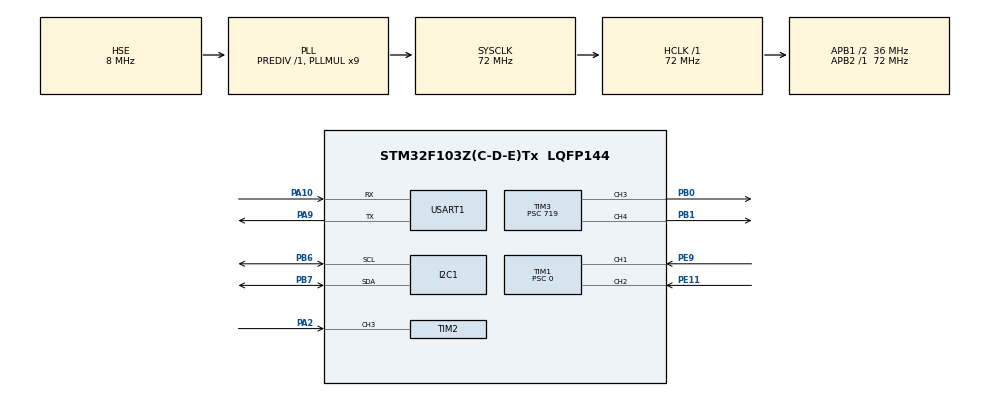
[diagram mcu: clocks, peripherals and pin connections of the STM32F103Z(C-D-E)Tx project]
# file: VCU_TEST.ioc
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Dma.I2C1_RX.1.Direction=DMA_PERIPH_TO_MEMORY
Dma.I2C1_RX.1.Instance=DMA1_Channel7
Dma.I2C1_RX.1.MemDataAlignment=DMA_MDATAALIGN_BYTE
Dma.I2C1_RX.1.MemInc=DMA_MINC_ENABLE
Dma.I2C1_RX.1.Mode=DMA_NORMAL
Dma.I2C1_RX.1.PeriphDataAlignment=DMA_PDATAALIGN_BYTE
Dma.I2C1_RX.1.PeriphInc=DMA_PINC_DISABLE
Dma.I2C1_RX.1.Priority=DMA_PRIORITY_LOW
Dma.I2C1_TX.2.Direction=DMA_MEMORY_TO_PERIPH
Dma.I2C1_TX.2.Instance=DMA1_Channel6
Dma.I2C1_TX.2.MemDataAlignment=DMA_MDATAALIGN_BYTE
Dma.I2C1_TX.2.MemInc=DMA_MINC_ENABLE
Dma.I2C1_TX.2.Mode=DMA_NORMAL
Dma.I2C1_TX.2.PeriphDataAlignment=DMA_PDATAALIGN_BYTE
Dma.I2C1_TX.2.PeriphInc=DMA_PINC_DISABLE
Dma.I2C1_TX.2.Priority=DMA_PRIORITY_LOW
Dma.Request0=USART1_TX
Dma.Request1=I2C1_RX
Dma.Request2=I2C1_TX
Dma.USART1_TX.0.Direction=DMA_MEMORY_TO_PERIPH
Dma.USART1_TX.0.Instance=DMA1_Channel4
Dma.USART1_TX.0.MemDataAlignment=DMA_MDATAALIGN_BYTE
Dma.USART1_TX.0.MemInc=DMA_MINC_ENABLE
Dma.USART1_TX.0.Mode=DMA_NORMAL
Dma.USART1_TX.0.PeriphDataAlignment=DMA_PDATAALIGN_BYTE
Dma.USART1_TX.0.PeriphInc=DMA_PINC_DISABLE
Dma.USART1_TX.0.Priority=DMA_PRIORITY_LOW
I2C1.I2C_Mode=I2C_Standard
Mcu.Family=STM32F1
Mcu.Name=STM32F103Z(C-D-E)Tx
Mcu.Package=LQFP144
NVIC.DMA1_Channel4_IRQn=true\:0\:0\:false\:false\:true\:false\:true
NVIC.DMA1_Channel6_IRQn=true\:0\:0\:false\:false\:true\:false\:true
NVIC.DMA1_Channel7_IRQn=true\:0\:0\:false\:false\:true\:false\:true
NVIC.PriorityGroup=NVIC_PRIORITYGROUP_4
NVIC.TIM2_IRQn=true\:0\:0\:false\:false\:true\:true\:true
NVIC.USART1_IRQn=true\:0\:0\:false\:false\:true\:true\:true
OSC_IN.Mode=HSE-External-Oscillator
OSC_IN.Signal=RCC_OSC_IN
OSC_OUT.Mode=HSE-External-Oscillator
OSC_OUT.Signal=RCC_OSC_OUT
PA10.Mode=Asynchronous
PA10.Signal=USART1_RX
PA13.Mode=Serial_Wire
PA13.Signal=SYS_JTMS-SWDIO
PA14.Mode=Serial_Wire
PA14.Signal=SYS_JTCK-SWCLK
PA2.Signal=S_TIM2_CH3
PA9.Mode=Asynchronous
PA9.Signal=USART1_TX
PB0.Signal=S_TIM3_CH3
PB1.Signal=S_TIM3_CH4
PB6.Mode=I2C
PB6.Signal=I2C1_SCL
PB7.Mode=I2C
PB7.Signal=I2C1_SDA
PE11.Signal=S_TIM1_CH2
PE9.Signal=S_TIM1_CH1
ProjectManager.HeapSize=0x200
ProjectManager.StackSize=0x400
ProjectManager.TargetToolchain=STM32CubeIDE
RCC.AHBFreq_Value=72000000
RCC.APB1CLKDivider=RCC_HCLK_DIV2
RCC.APB1Freq_Value=36000000
RCC.APB1TimFreq_Value=72000000
RCC.APB2Freq_Value=72000000
RCC.APB2TimFreq_Value=72000000
RCC.HCLKFreq_Value=72000000
RCC.PLLMUL=RCC_PLL_MUL9
RCC.PLLSourceVirtual=RCC_PLLSOURCE_HSE
RCC.SYSCLKFreq_VALUE=72000000
RCC.SYSCLKSource=RCC_SYSCLKSOURCE_PLLCLK
RCC.USBFreq_Value=72000000
SH.S_TIM1_CH1.0=TIM1_CH1,Encoder_Interface
SH.S_TIM1_CH2.0=TIM1_CH2,Encoder_Interface
SH.S_TIM2_CH3.0=TIM2_CH3,Input_Capture3_from_TI3
SH.S_TIM3_CH3.0=TIM3_CH3,PWM Generation3 CH3
SH.S_TIM3_CH4.0=TIM3_CH4,PWM Generation4 CH4
TIM1.EncoderMode=TIM_ENCODERMODE_TI12
TIM1.IC1Filter=4
TIM1.IC2Filter=4
TIM1.Period=0xFFFF
TIM1.Prescaler=0
TIM2.Channel-Input_Capture3_from_TI3=TIM_CHANNEL_3
TIM2.ICFilter_CH3=8
TIM2.Period=0xFFFF
TIM2.Prescaler=71
TIM3.Channel-PWM\ Generation3\ CH3=TIM_CHANNEL_3
TIM3.Channel-PWM\ Generation4\ CH4=TIM_CHANNEL_4
TIM3.Period=1699
TIM3.Prescaler=719
USART1.VirtualMode=VM_ASYNC
VP_TIM2_VS_ClockSourceINT.Mode=Internal
VP_TIM3_VS_ClockSourceINT.Mode=Internal
board=custom

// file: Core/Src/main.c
/* USER CODE BEGIN Header */
/**
  ******************************************************************************
  * @file           : main.c
  * @brief          : Main program body
  ******************************************************************************
  * @attention
  *
  * <h2><center>&copy; Copyright (c) 2020 STMicroelectronics.
  * All rights reserved.</center></h2>
  *
  * This software component is licensed by ST under BSD 3-Clause license,
  * the "License"; You may not use this file except in compliance with the
  * License. You may obtain a copy of the License at:
  *                        opensource.org/licenses/BSD-3-Clause
  *
  ******************************************************************************
  */
/* USER CODE END Header */

#include "main.h"

/* USER CODE BEGIN PD */
#define MPU9250_IIC_ADDRESS 0xD0  //0x68 // FUCK HAL
#define MPU9250_WHO_AM_I    0x75

#define BMP280_ADDRESS      0xEC
#define BMP280_CHIPID       0xD0
/* USER CODE END PD */

I2C_HandleTypeDef hi2c1;
DMA_HandleTypeDef hdma_i2c1_rx;
DMA_HandleTypeDef hdma_i2c1_tx;

TIM_HandleTypeDef htim1;
TIM_HandleTypeDef htim2;
TIM_HandleTypeDef htim3;

UART_HandleTypeDef huart1;
DMA_HandleTypeDef hdma_usart1_tx;

void SystemClock_Config(void);
static void MX_GPIO_Init(void);
static void MX_DMA_Init(void);
static void MX_TIM3_Init(void);
static void MX_I2C1_Init(void);
static void MX_TIM1_Init(void);
static void MX_TIM2_Init(void);
static void MX_USART1_UART_Init(void);
/* USER CODE BEGIN PFP */
static void testPwmOutput(void);
static void testUartPrint(void);
static void testEnconder(void);
static void testIIC(void);
void printLog(char*);
/* USER CODE END PFP */

/* USER CODE BEGIN 0 */
static uint8_t is_first_captured = 1;
static uint64_t count_number;  // do not watch count_number in IDE, print the variable to UART
static uint16_t IC_Value1, IC_Value2;
static uint64_t period_elapsed_cnt;
static char print_log[10];
static uint16_t encoder_cnt;
static char mpu9250data[18]={0};

//static uint64_t overflow = 0;
/* USER CODE END 0 */

int main(void)
{

  /* MCU Configuration--------------------------------------------------------*/

  /* Reset of all peripherals, Initializes the Flash interface and the Systick. */
  HAL_Init();

  /* Configure the system clock */
  SystemClock_Config();

  /* Initialize all configured peripherals */
  MX_GPIO_Init();
  MX_DMA_Init();
  MX_TIM3_Init();
  MX_I2C1_Init();
  MX_TIM1_Init();
  MX_TIM2_Init();
  MX_USART1_UART_Init();
  /* USER CODE BEGIN 2 */
  // PWM Output
  HAL_TIM_PWM_Start(&htim3, TIM_CHANNEL_3); // TIM3 Channel3
  HAL_TIM_PWM_Start(&htim3, TIM_CHANNEL_4); // TIM3 Channel4
  // PWM input capture
  // enable overflow interrupt to get the count of overflow
  HAL_TIM_Base_Start_IT(&htim2); // Method1
//  __HAL_TIM_ENABLE_IT(&htim2, TIM_IT_UPDATE); // Method2
  HAL_TIM_IC_Start_IT(&htim2, TIM_CHANNEL_3); // TIM2 Channel3
  // Encoder
  HAL_TIM_Encoder_Start(&htim1, TIM_CHANNEL_ALL);

  /* USER CODE END 2 */

  /* Infinite loop */
  /* USER CODE BEGIN WHILE */
  while (1)
  {
//	  testPwmOutput();
//	  testUartPrint();
//	  testEnconder();
	  testIIC();

//	sprintf(print_log, "C=%d \n", count_number);
//	printLog(print_log);
    /* USER CODE END WHILE */

  }
}

void SystemClock_Config(void)
{
  RCC_OscInitTypeDef RCC_OscInitStruct = {0};
  RCC_ClkInitTypeDef RCC_ClkInitStruct = {0};

  /** Initializes the CPU, AHB and APB busses clocks
  */
  RCC_OscInitStruct.OscillatorType = RCC_OSCILLATORTYPE_HSE;
  RCC_OscInitStruct.HSEState = RCC_HSE_ON;
  RCC_OscInitStruct.HSEPredivValue = RCC_HSE_PREDIV_DIV1;
  RCC_OscInitStruct.HSIState = RCC_HSI_ON;
  RCC_OscInitStruct.PLL.PLLState = RCC_PLL_ON;
  RCC_OscInitStruct.PLL.PLLSource = RCC_PLLSOURCE_HSE;
  RCC_OscInitStruct.PLL.PLLMUL = RCC_PLL_MUL9;
  if (HAL_RCC_OscConfig(&RCC_OscInitStruct) != HAL_OK)
  {
    Error_Handler();
  }
  /** Initializes the CPU, AHB and APB busses clocks
  */
  RCC_ClkInitStruct.ClockType = RCC_CLOCKTYPE_HCLK|RCC_CLOCKTYPE_SYSCLK
                              |RCC_CLOCKTYPE_PCLK1|RCC_CLOCKTYPE_PCLK2;
  RCC_ClkInitStruct.SYSCLKSource = RCC_SYSCLKSOURCE_PLLCLK;
  RCC_ClkInitStruct.AHBCLKDivider = RCC_SYSCLK_DIV1;
  RCC_ClkInitStruct.APB1CLKDivider = RCC_HCLK_DIV2;
  RCC_ClkInitStruct.APB2CLKDivider = RCC_HCLK_DIV1;

  if (HAL_RCC_ClockConfig(&RCC_ClkInitStruct, FLASH_LATENCY_2) != HAL_OK)
  {
    Error_Handler();
  }
}

static void MX_I2C1_Init(void)
{

  hi2c1.Instance = I2C1;
  hi2c1.Init.ClockSpeed = 100000;
  hi2c1.Init.DutyCycle = I2C_DUTYCYCLE_2;
  hi2c1.Init.OwnAddress1 = 0;
  hi2c1.Init.AddressingMode = I2C_ADDRESSINGMODE_7BIT;
  hi2c1.Init.DualAddressMode = I2C_DUALADDRESS_DISABLE;
  hi2c1.Init.OwnAddress2 = 0;
  hi2c1.Init.GeneralCallMode = I2C_GENERALCALL_DISABLE;
  hi2c1.Init.NoStretchMode = I2C_NOSTRETCH_DISABLE;
  if (HAL_I2C_Init(&hi2c1) != HAL_OK)
  {
    Error_Handler();
  }

}

static void MX_TIM1_Init(void)
{

  TIM_Encoder_InitTypeDef sConfig = {0};
  TIM_MasterConfigTypeDef sMasterConfig = {0};

  htim1.Instance = TIM1;
  htim1.Init.Prescaler = 0;
  htim1.Init.CounterMode = TIM_COUNTERMODE_UP;
  htim1.Init.Period = 0xFFFF;
  htim1.Init.ClockDivision = TIM_CLOCKDIVISION_DIV1;
  htim1.Init.RepetitionCounter = 0;
  htim1.Init.AutoReloadPreload = TIM_AUTORELOAD_PRELOAD_DISABLE;
  sConfig.EncoderMode = TIM_ENCODERMODE_TI12;
  sConfig.IC1Polarity = TIM_ICPOLARITY_RISING;
  sConfig.IC1Selection = TIM_ICSELECTION_DIRECTTI;
  sConfig.IC1Prescaler = TIM_ICPSC_DIV1;
  sConfig.IC1Filter = 4;
  sConfig.IC2Polarity = TIM_ICPOLARITY_RISING;
  sConfig.IC2Selection = TIM_ICSELECTION_DIRECTTI;
  sConfig.IC2Prescaler = TIM_ICPSC_DIV1;
  sConfig.IC2Filter = 4;
  if (HAL_TIM_Encoder_Init(&htim1, &sConfig) != HAL_OK)
  {
    Error_Handler();
  }
  sMasterConfig.MasterOutputTrigger = TIM_TRGO_RESET;
  sMasterConfig.MasterSlaveMode = TIM_MASTERSLAVEMODE_DISABLE;
  if (HAL_TIMEx_MasterConfigSynchronization(&htim1, &sMasterConfig) != HAL_OK)
  {
    Error_Handler();
  }

}

static void MX_TIM2_Init(void)
{

  TIM_ClockConfigTypeDef sClockSourceConfig = {0};
  TIM_MasterConfigTypeDef sMasterConfig = {0};
  TIM_IC_InitTypeDef sConfigIC = {0};

  htim2.Instance = TIM2;
  htim2.Init.Prescaler = 71;
  htim2.Init.CounterMode = TIM_COUNTERMODE_UP;
  htim2.Init.Period = 0xFFFF;
  htim2.Init.ClockDivision = TIM_CLOCKDIVISION_DIV1;
  htim2.Init.AutoReloadPreload = TIM_AUTORELOAD_PRELOAD_DISABLE;
  if (HAL_TIM_Base_Init(&htim2) != HAL_OK)
  {
    Error_Handler();
  }
  sClockSourceConfig.ClockSource = TIM_CLOCKSOURCE_INTERNAL;
  if (HAL_TIM_ConfigClockSource(&htim2, &sClockSourceConfig) != HAL_OK)
  {
    Error_Handler();
  }
  if (HAL_TIM_IC_Init(&htim2) != HAL_OK)
  {
    Error_Handler();
  }
  sMasterConfig.MasterOutputTrigger = TIM_TRGO_RESET;
  sMasterConfig.MasterSlaveMode = TIM_MASTERSLAVEMODE_DISABLE;
  if (HAL_TIMEx_MasterConfigSynchronization(&htim2, &sMasterConfig) != HAL_OK)
  {
    Error_Handler();
  }
  sConfigIC.ICPolarity = TIM_INPUTCHANNELPOLARITY_RISING;
  sConfigIC.ICSelection = TIM_ICSELECTION_DIRECTTI;
  sConfigIC.ICPrescaler = TIM_ICPSC_DIV1;
  sConfigIC.ICFilter = 8;
  if (HAL_TIM_IC_ConfigChannel(&htim2, &sConfigIC, TIM_CHANNEL_3) != HAL_OK)
  {
    Error_Handler();
  }

}

static void MX_TIM3_Init(void)
{

  TIM_ClockConfigTypeDef sClockSourceConfig = {0};
  TIM_MasterConfigTypeDef sMasterConfig = {0};
  TIM_OC_InitTypeDef sConfigOC = {0};

  htim3.Instance = TIM3;
  htim3.Init.Prescaler = 719;
  htim3.Init.CounterMode = TIM_COUNTERMODE_UP;
  htim3.Init.Period = 1699;
  htim3.Init.ClockDivision = TIM_CLOCKDIVISION_DIV1;
  htim3.Init.AutoReloadPreload = TIM_AUTORELOAD_PRELOAD_DISABLE;
  if (HAL_TIM_Base_Init(&htim3) != HAL_OK)
  {
    Error_Handler();
  }
  sClockSourceConfig.ClockSource = TIM_CLOCKSOURCE_INTERNAL;
  if (HAL_TIM_ConfigClockSource(&htim3, &sClockSourceConfig) != HAL_OK)
  {
    Error_Handler();
  }
  if (HAL_TIM_PWM_Init(&htim3) != HAL_OK)
  {
    Error_Handler();
  }
  sMasterConfig.MasterOutputTrigger = TIM_TRGO_RESET;
  sMasterConfig.MasterSlaveMode = TIM_MASTERSLAVEMODE_DISABLE;
  if (HAL_TIMEx_MasterConfigSynchronization(&htim3, &sMasterConfig) != HAL_OK)
  {
    Error_Handler();
  }
  sConfigOC.OCMode = TIM_OCMODE_PWM1;
  sConfigOC.Pulse = 0;
  sConfigOC.OCPolarity = TIM_OCPOLARITY_HIGH;
  sConfigOC.OCFastMode = TIM_OCFAST_DISABLE;
  if (HAL_TIM_PWM_ConfigChannel(&htim3, &sConfigOC, TIM_CHANNEL_3) != HAL_OK)
  {
    Error_Handler();
  }
  if (HAL_TIM_PWM_ConfigChannel(&htim3, &sConfigOC, TIM_CHANNEL_4) != HAL_OK)
  {
    Error_Handler();
  }
  HAL_TIM_MspPostInit(&htim3);

}

static void MX_USART1_UART_Init(void)
{

  huart1.Instance = USART1;
  huart1.Init.BaudRate = 115200;
  huart1.Init.WordLength = UART_WORDLENGTH_8B;
  huart1.Init.StopBits = UART_STOPBITS_1;
  huart1.Init.Parity = UART_PARITY_NONE;
  huart1.Init.Mode = UART_MODE_TX_RX;
  huart1.Init.HwFlowCtl = UART_HWCONTROL_NONE;
  huart1.Init.OverSampling = UART_OVERSAMPLING_16;
  if (HAL_UART_Init(&huart1) != HAL_OK)
  {
    Error_Handler();
  }

}

static void MX_DMA_Init(void)
{

  /* DMA controller clock enable */
  __HAL_RCC_DMA1_CLK_ENABLE();

  /* DMA interrupt init */
  /* DMA1_Channel4_IRQn interrupt configuration */
  HAL_NVIC_SetPriority(DMA1_Channel4_IRQn, 0, 0);
  HAL_NVIC_EnableIRQ(DMA1_Channel4_IRQn);
  /* DMA1_Channel6_IRQn interrupt configuration */
  HAL_NVIC_SetPriority(DMA1_Channel6_IRQn, 0, 0);
  HAL_NVIC_EnableIRQ(DMA1_Channel6_IRQn);
  /* DMA1_Channel7_IRQn interrupt configuration */
  HAL_NVIC_SetPriority(DMA1_Channel7_IRQn, 0, 0);
  HAL_NVIC_EnableIRQ(DMA1_Channel7_IRQn);

}

static void MX_GPIO_Init(void)
{

  /* GPIO Ports Clock Enable */
  __HAL_RCC_GPIOA_CLK_ENABLE();
  __HAL_RCC_GPIOB_CLK_ENABLE();
  __HAL_RCC_GPIOE_CLK_ENABLE();

}

/* USER CODE BEGIN 4 */
static void testPwmOutput(void)
{
	// test change PWM duty cycle
	__HAL_TIM_SET_COMPARE(&htim3, TIM_CHANNEL_3, 100); // the value is between 100 and 200
	__HAL_TIM_SET_COMPARE(&htim3, TIM_CHANNEL_4, 200);
	HAL_Delay(1000);
	__HAL_TIM_SET_COMPARE(&htim3, TIM_CHANNEL_3, 150);
	__HAL_TIM_SET_COMPARE(&htim3, TIM_CHANNEL_4, 150);
	HAL_Delay(1000);
	__HAL_TIM_SET_COMPARE(&htim3, TIM_CHANNEL_3, 200);
	__HAL_TIM_SET_COMPARE(&htim3, TIM_CHANNEL_4, 100);
	HAL_Delay(1000);
}

static void testUartPrint(void)
{
//	HAL_UART_Transmit(&huart1, "hello world!", 13, 10);  // block mode
	HAL_UART_Transmit_DMA(&huart1, "hello world!", 13);  // DMA mode
	HAL_Delay(1000);
}

static void testEnconder(void)
{
	char print_log[10];
	encoder_cnt = (uint16_t)(__HAL_TIM_GET_COUNTER(&htim1));
	sprintf(print_log, "E=%d \n", encoder_cnt);
	printLog(print_log);
	HAL_Delay(1000);
	// TODO: add CNT overflow and underflow logic  0-65536
	// TODO: the relationship between rotation direction and CNT change direction
	// TODO: calculate rotation speed using this method
}

static void testIIC(void)
{
	uint8_t check;
	// polling mode test well
//	uint8_t status = HAL_I2C_Mem_Read(&hi2c1, MPU9250_IIC_ADDRESS, MPU9250_WHO_AM_I, 1, &check, 1, 1000); // MPU9250
//	uint8_t status = HAL_I2C_Mem_Read(&hi2c1, BMP280_ADDRESS, BMP280_CHIPID, 1, &check, 1, 1000);  // BMP280
	// interrupt mode
	// DMA mode ATTENTION: both TX and RX DMA channel need open
	uint8_t status = HAL_I2C_Mem_Read_DMA(&hi2c1, BMP280_ADDRESS, BMP280_CHIPID, 1, &check, 1); // return 0x58
	if(HAL_OK == status)
	{
		HAL_UART_Transmit_DMA(&huart1, &check, 1);
	}
	else
	{
		HAL_UART_Transmit_DMA(&huart1, &status, 1);
	}
	HAL_Delay(1000);
}

void HAL_TIM_IC_CaptureCallback(TIM_HandleTypeDef *htim)
{
	// PWM period measurement
	if(htim->Instance == TIM2 && htim->Channel == HAL_TIM_ACTIVE_CHANNEL_3)  // rising trigger
	{
		if (is_first_captured)  // is the first value captured ?
		{
			period_elapsed_cnt = 0;
			IC_Value1 = HAL_TIM_ReadCapturedValue(&htim2, TIM_CHANNEL_3);  // capture the first value
			is_first_captured = 0;  // set the first value captured as true
		}
		else  // if the first is captured
		{
			IC_Value2 = HAL_TIM_ReadCapturedValue(&htim2, TIM_CHANNEL_3);  // capture second value
			count_number = (htim->Init.Period +1 ) * period_elapsed_cnt + IC_Value2 - IC_Value1;
			is_first_captured = 1;  // reset the first captured
		}
	}
}

// override timer overflow callback
void HAL_TIM_PeriodElapsedCallback(TIM_HandleTypeDef *htim)
{
	if(htim->Instance == TIM2)  // rising trigger
	{
//		overflow = HAL_TIM_ReadCapturedValue(&htim2, TIM_CHANNEL_3); // wrong method
		// TODO: should get current counter
		++period_elapsed_cnt;
	}
}

void printLog(char* log)
{
	HAL_UART_Transmit_DMA(&huart1, log, 10);
}
/* USER CODE END 4 */

void Error_Handler(void)
{
}

/************************ (C) COPYRIGHT STMicroelectronics *****END OF FILE****/
